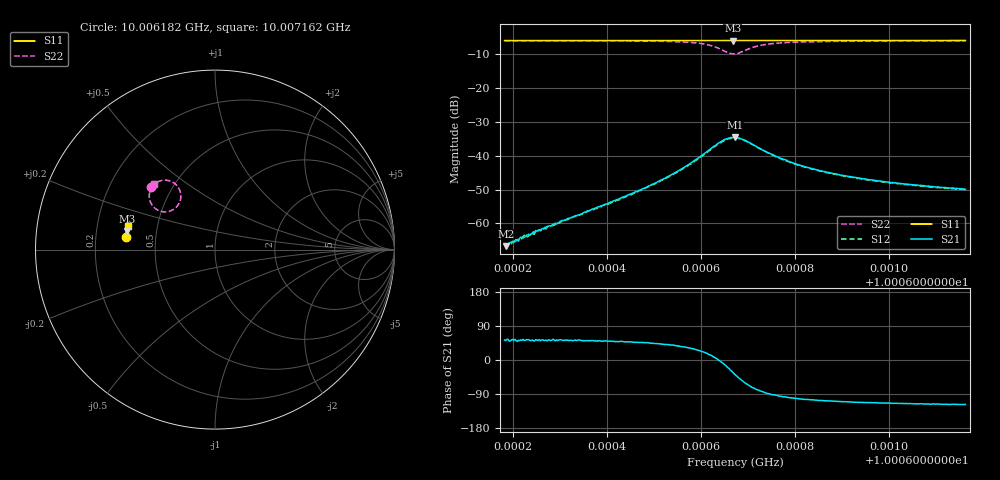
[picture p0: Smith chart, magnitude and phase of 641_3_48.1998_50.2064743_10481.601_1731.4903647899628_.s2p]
#  HZ  S  RI  R  50.00
! Rohde & Schwarz Vector Network Analyzer
! Rohde-Schwarz,ZNB20-2Port,1311601062101988,3.16
! Created: UTC 3/20/2024, 12:04:50 PM
! freq[Hz]  re:S11  im:S11  re:S21  im:S21  re:S12  im:S12  re:S22  im:S22
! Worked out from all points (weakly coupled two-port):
!   401 points, 10.006182 GHz to 10.007162 GHz, reference 50 ohm
!   highest |S21| = -34.59 dB at 10.006672 GHz (marker M1); lowest = -66.6 dB at 10.006185 GHz (marker M2)
!   lowest |S11| = -6.0 dB at 10.006667 GHz (marker M3), VSWR 3.02, Z = 16.7 + j4.59 ohm
!   |S11| at or under -10 dB: nowhere
!   |S22| runs from -9.9 to -6.0 dB; largest |S21 - S12| = 0.0015
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1.00061821e10  -0.4984 0.072  0.000295 0.000388  0.00028 0.000386  -0.358 0.3481
1.00061846e10  -0.4983 0.0721  0.000292 0.000363  0.000265 0.000377  -0.3578 0.3482
1.00062066e10  -0.4982 0.0736  0.000348 0.000429  0.000327 0.000475  -0.3562 0.3499
1.00062483e10  -0.4978 0.0763  0.000465 0.000633  0.00042 0.000627  -0.3529 0.3531
1.00062728e10  -0.4975 0.0779  0.000575 0.0007  0.000501 0.000724  -0.3509 0.3552
1.00063463e10  -0.4969 0.0828  0.000877 0.00107  0.000783 0.00111  -0.3436 0.3614
1.00064566e10  -0.4959 0.0899  0.00193 0.00208  0.00177 0.00213  -0.3267 0.3737
1.00065105e10  -0.495 0.0936  0.00308 0.00286  0.00289 0.00295  -0.3116 0.3808
1.00065693e10  -0.4943 0.0975  0.00595 0.0039  0.00561 0.00411  -0.2798 0.3868
1.00066134e10  -0.4932 0.1005  0.0111 0.00345  0.0106 0.0039  -0.2306 0.3725
1.00066452e10  -0.4923 0.1022  0.0165 -0.00202  0.0162 -0.00108  -0.1912 0.3107
1.00066575e10  -0.492 0.1024  0.0169 -0.00637  0.017 -0.00528  -0.1948 0.2704
1.00066673e10  -0.4918 0.1027  0.0157 -0.01  0.0163 -0.00865  -0.2125 0.2397
1.00066722e10  -0.4919 0.1027  0.0146 -0.0116  0.0152 -0.0103  -0.2257 0.2275
1.00066942e10  -0.4923 0.1037  0.00813 -0.0147  0.00896 -0.0139  -0.2938 0.2116
1.00067285e10  -0.4925 0.106  0.00152 -0.0123  0.00218 -0.0122  -0.3512 0.2488
1.00067751e10  -0.4924 0.1091  -0.00117 -0.00879  -0.000716 -0.00863  -0.3661 0.2918
1.00068364e10  -0.4917 0.1134  -0.00167 -0.00624  -0.00138 -0.00618  -0.3636 0.3205
1.0006905e10  -0.4909 0.1177  -0.00174 -0.00476  -0.00149 -0.00476  -0.3575 0.3376
1.00070005e10  -0.4895 0.124  -0.00164 -0.00372  -0.00143 -0.00373  -0.3497 0.3517
1.00070887e10  -0.4884 0.1296  -0.00158 -0.00315  -0.00139 -0.00315  -0.3434 0.3607
1.00071622e10  -0.4872 0.1342  -0.00147 -0.00284  -0.00135 -0.00286  -0.3386 0.3667
